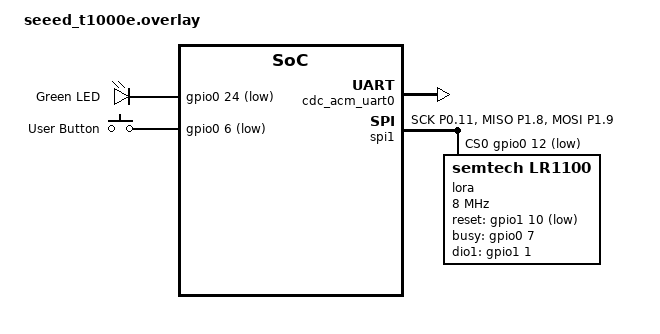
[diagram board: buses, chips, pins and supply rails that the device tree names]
/*
 * Seeed Studio T1000-E Tracker device tree overlay for LICHEN bridge
 *
 * nRF52840 + Semtech LR1110 (LR1100-compatible)
 *
 * LR1110 SPI pins:
 *   SCK  = P0.11
 *   MISO = P1.08
 *   MOSI = P1.09
 *   NSS  = P0.12
 *
 * LR1110 control pins:
 *   RESET = P1.10
 *   BUSY  = P0.07
 *   DIO1  = P1.01 (IRQ)
 *
 * Note: LR1110 also has GNSS/WiFi scanning capabilities.
 * These features require additional driver support beyond basic LoRa.
 *
 * GNSS UART (AG3335 GPS module):
 *   RX = P0.14
 *   TX = P0.13
 *   GPS_EN = P1.11
 *   GPS_RST = P1.15
 *
 * Sensors (I2C):
 *   SDA = P0.26
 *   SCL = P0.27
 *   Accelerometer power = P1.07
 *   Sensor power = P1.06
 *   Temperature = P0.31 (analog NTC)
 *   Light = P0.29 (analog LUX)
 *
 * Other peripherals:
 *   Button = P0.06
 *   LED = P0.24
 *   Buzzer PWM = P0.25
 *   Buzzer EN = P1.05
 */

/ {
    chosen {
        zephyr,console = &cdc_acm_uart0;
        zephyr,shell-uart = &cdc_acm_uart0;
    };

    aliases {
        led0 = &green_led;
        lora0 = &lora;
    };

    leds {
        compatible = "gpio-leds";
        green_led: led_0 {
            gpios = <&gpio0 24 GPIO_ACTIVE_LOW>;
            label = "Green LED";
        };
    };

    buttons {
        compatible = "gpio-keys";
        button0: button_0 {
            gpios = <&gpio0 6 (GPIO_PULL_UP | GPIO_ACTIVE_LOW)>;
            label = "User Button";
        };
    };
};

&zephyr_udc0 {
    cdc_acm_uart0: cdc_acm_uart0 {
        compatible = "zephyr,cdc-acm-uart";
    };
};

/* LR1110 on SPI1 */
&spi1 {
    status = "okay";
    pinctrl-0 = <&spi1_default>;
    pinctrl-names = "default";
    cs-gpios = <&gpio0 12 GPIO_ACTIVE_LOW>;  /* P0.12 = NSS */

    lora: lr1100@0 {
        /*
         * LR1110/LR1100 placeholder compatible string.
         * The LR1100 Zephyr driver is being developed externally.
         * Falls back to sx126x API for basic LoRa, but GNSS/WiFi
         * scanning requires native LR1110 driver support.
         */
        compatible = "semtech,lr1100";
        reg = <0>;
        spi-max-frequency = <8000000>;
        reset-gpios = <&gpio1 10 GPIO_ACTIVE_LOW>;  /* P1.10 = RST */
        busy-gpios = <&gpio0 7 GPIO_ACTIVE_HIGH>;   /* P0.07 = BUSY */
        dio1-gpios = <&gpio1 1 GPIO_ACTIVE_HIGH>;   /* P1.01 = DIO1/IRQ */
        /* DIO2 controls RF switch internally */
        dio2-tx-enable;
    };
};

&pinctrl {
    spi1_default: spi1_default {
        group1 {
            psels = <NRF_PSEL(SPIM_SCK, 0, 11)>,   /* P0.11 = SCK */
                    <NRF_PSEL(SPIM_MISO, 1, 8)>,   /* P1.08 = MISO */
                    <NRF_PSEL(SPIM_MOSI, 1, 9)>;   /* P1.09 = MOSI */
        };
    };
};

/*
 * GPS UART - AG3335 GNSS module
 * Directly connected to nRF52840 UART1.
 * Enable with GPS_EN (P1.11), reset with GPS_RST (P1.15).
 *
 * Uncomment when GPS support is added:
 *
 * &uart1 {
 *     status = "okay";
 *     current-speed = <9600>;
 *     pinctrl-0 = <&uart1_default>;
 *     pinctrl-names = "default";
 * };
 *
 * Add to &pinctrl:
 *     uart1_default: uart1_default {
 *         group1 {
 *             psels = <NRF_PSEL(UART_TX, 0, 13)>,
 *                     <NRF_PSEL(UART_RX, 0, 14)>;
 *         };
 *     };
 */
